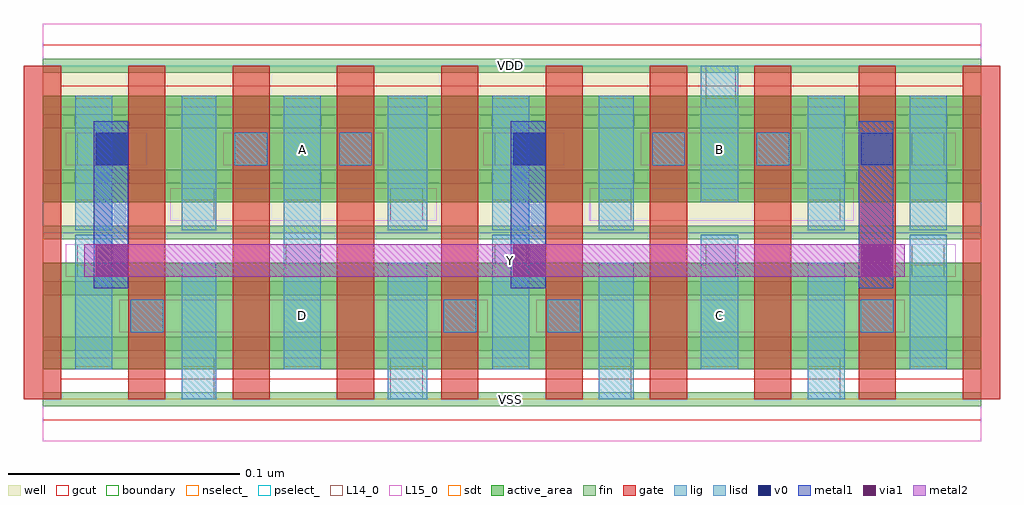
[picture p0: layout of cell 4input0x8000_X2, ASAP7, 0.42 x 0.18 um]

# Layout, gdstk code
import gdstk
lib = gdstk.Library(unit=1e-6, precision=1e-09)
def R(c, l, rs):  # rectangles x0, y0, x1, y1
    for r in rs: c.add(gdstk.rectangle(r[:2], r[2:], *l))
def A(c, l, x, y, w, h, nx, ny, dx, dy):  # array of equal rectangles
    R(c, l, [(x+i*dx, y+j*dy, x+i*dx+w, y+j*dy+h) for i in range(nx) for j in range(ny)])
def P(c, l, *ps):  # polygons
    for p in ps: c.add(gdstk.Polygon(p, *l))
well = (1, 0)
fin = (2, 0)
gate = (7, 0)
gcut = (10, 0)
active_area = (11, 0)
nselect_ = (12, 0)
pselect_ = (13, 0)
L14_0 = (14, 0)
L15_0 = (15, 0)
lig = (16, 0)
lisd = (17, 0)
v0 = (18, 0)
metal1 = (19, 0)
metal2 = (20, 0)
via1 = (21, 0)
sdt = (88, 0)
boundary = (100, 0)

c_4input0x8000_x2 = lib.new_cell('4input0x8000_X2')
R(c_4input0x8000_x2, well, [(0,0.072,0.405,0.144)])
A(c_4input0x8000_x2, fin, 0, -0.003, 0.405, 0.006, 1, 7, 0, 0.024)
A(c_4input0x8000_x2, gate, -0.008, 0, 0.016, 0.144, 10, 1, 0.045, 0)
P(c_4input0x8000_x2, gcut, [(0,-0.009),(0,0),(-0.008,0),(-0.008,0.135),(0.008,0.135),(0.008,0.009),(0.397,0.009),(0.397,0.135),(-0.008,0.135),(-0.008,0.144),(0,0.144),(0,0.153),(0.405,0.153),(0.405,0.144),(0.413,0.144),(0.413,0),(0.405,0),(0.405,-0.009)])
R(c_4input0x8000_x2, active_area, [(0,0.013,0.405,0.059), (0,0.085,0.405,0.131)])
R(c_4input0x8000_x2, nselect_, [(0,0,0.405,0.072)])
R(c_4input0x8000_x2, pselect_, [(0,0.072,0.405,0.144)])
A(c_4input0x8000_x2, L14_0, 0.06, 0, 0.014, 0.018, 4, 1, 0.09, 0)
A(c_4input0x8000_x2, L14_0, 0.06, 0.077, 0.014, 0.014, 4, 1, 0.09, 0)
R(c_4input0x8000_x2, L14_0, [(0.038,0.029,0.052,0.043), (0.173,0.029,0.187,0.043), (0.218,0.029,0.232,0.043), (0.353,0.029,0.367,0.043), (0.015,0.053,0.03,0.067), (0.105,0.053,0.12,0.067), (0.195,0.053,0.209,0.067), (0.286,0.053,0.299,0.067), (0.375,0.053,0.389,0.067), (0.015,0.101,0.03,0.115), (0.083,0.101,0.097,0.115), (0.128,0.101,0.142,0.115), (0.195,0.101,0.209,0.115), (0.263,0.101,0.277,0.115), (0.308,0.101,0.322,0.115), (0.375,0.101,0.389,0.115), (0.286,0.126,0.299,0.144)])
R(c_4input0x8000_x2, L15_0, [(0,-0.018,0.405,0.018), (0.033,0.029,0.192,0.043), (0.213,0.029,0.372,0.043), (0.01,0.053,0.394,0.067), (0.055,0.077,0.17,0.091), (0.236,0.077,0.35,0.091), (0.01,0.101,0.045,0.115), (0.078,0.101,0.147,0.115), (0.19,0.101,0.225,0.115), (0.258,0.101,0.327,0.115), (0.345,0.101,0.394,0.115), (0,0.126,0.405,0.162)])
R(c_4input0x8000_x2, lig, [(0.038,0.029,0.052,0.043), (0.173,0.029,0.187,0.043), (0.218,0.029,0.232,0.043), (0.353,0.029,0.367,0.043), (0.083,0.101,0.097,0.115), (0.128,0.101,0.142,0.115), (0.263,0.101,0.277,0.115), (0.308,0.101,0.322,0.115)])
A(c_4input0x8000_x2, lisd, 0.194, 0.013, 0.016, 0.058, 3, 1, 0.09, 0)
R(c_4input0x8000_x2, lisd, [(0.06,0,0.075,0.059), (0.149,0,0.166,0.059), (0.24,0,0.255,0.059), (0.33,0,0.346,0.059), (0.014,0.013,0.03,0.071), (0.104,0.013,0.12,0.131), (0.014,0.073,0.03,0.131), (0.06,0.073,0.075,0.131), (0.149,0.073,0.166,0.131), (0.194,0.073,0.21,0.131), (0.24,0.073,0.255,0.131), (0.33,0.073,0.346,0.131), (0.374,0.073,0.39,0.131), (0.284,0.085,0.3,0.144)])
R(c_4input0x8000_x2, v0, [(0.023,0.101,0.037,0.115), (0.203,0.101,0.217,0.115), (0.353,0.101,0.367,0.115)])
R(c_4input0x8000_x2, metal1, [(0.022,0.048,0.037,0.12), (0.202,0.048,0.217,0.12), (0.352,0.048,0.367,0.12)])
R(c_4input0x8000_x2, metal2, [(0.018,0.053,0.372,0.067)])
R(c_4input0x8000_x2, via1, [(0.023,0.053,0.037,0.067), (0.203,0.053,0.217,0.067), (0.353,0.053,0.367,0.067)])
A(c_4input0x8000_x2, sdt, 0.014, 0.014, 0.016, 0.044, 4, 2, 0.09, 0.072)
R(c_4input0x8000_x2, sdt, [(0.06,0.014,0.075,0.058), (0.149,0.014,0.166,0.058), (0.24,0.014,0.255,0.058), (0.33,0.014,0.346,0.058), (0.374,0.014,0.39,0.058), (0.06,0.086,0.075,0.13), (0.149,0.086,0.166,0.13), (0.24,0.086,0.255,0.13), (0.33,0.086,0.346,0.13), (0.374,0.086,0.39,0.13)])
R(c_4input0x8000_x2, boundary, [(0,0,0.405,0.144)])
c_4input0x8000_x2.add(gdstk.Label('D', (0.112,0.036), layer=15, texttype=251))
c_4input0x8000_x2.add(gdstk.Label('VSS', (0.202,0), layer=15, texttype=251))
c_4input0x8000_x2.add(gdstk.Label('VDD', (0.202,0.144), layer=15, texttype=251))
c_4input0x8000_x2.add(gdstk.Label('A', (0.112,0.108), layer=15, texttype=251))
c_4input0x8000_x2.add(gdstk.Label('VSS', (0.202,0), layer=15, texttype=251))
c_4input0x8000_x2.add(gdstk.Label('VDD', (0.202,0.144), layer=15, texttype=251))
c_4input0x8000_x2.add(gdstk.Label('Y', (0.202,0.06), layer=15, texttype=251))
c_4input0x8000_x2.add(gdstk.Label('VSS', (0.202,0), layer=15, texttype=251))
c_4input0x8000_x2.add(gdstk.Label('VDD', (0.202,0.144), layer=15, texttype=251))
c_4input0x8000_x2.add(gdstk.Label('C', (0.292,0.036), layer=15, texttype=251))
c_4input0x8000_x2.add(gdstk.Label('VSS', (0.202,0), layer=15, texttype=251))
c_4input0x8000_x2.add(gdstk.Label('VDD', (0.202,0.144), layer=15, texttype=251))
c_4input0x8000_x2.add(gdstk.Label('B', (0.292,0.108), layer=15, texttype=251))
c_4input0x8000_x2.add(gdstk.Label('VSS', (0.202,0), layer=15, texttype=251))
c_4input0x8000_x2.add(gdstk.Label('VDD', (0.202,0.144), layer=15, texttype=251))
c_4input0x8000_x2.add(gdstk.Label('VSS', (0.202,0), layer=3, texttype=251))
c_4input0x8000_x2.add(gdstk.Label('VSS', (0.202,0), layer=3, texttype=251))
c_4input0x8000_x2.add(gdstk.Label('VSS', (0.202,0), layer=3, texttype=251))
c_4input0x8000_x2.add(gdstk.Label('VSS', (0.202,0), layer=3, texttype=251))
c_4input0x8000_x2.add(gdstk.Label('VSS', (0.202,0), layer=3, texttype=251))
c_4input0x8000_x2.add(gdstk.Label('VDD', (0.202,0.144), layer=1, texttype=251))
c_4input0x8000_x2.add(gdstk.Label('VDD', (0.202,0.144), layer=1, texttype=251))
c_4input0x8000_x2.add(gdstk.Label('VDD', (0.202,0.144), layer=1, texttype=251))
c_4input0x8000_x2.add(gdstk.Label('VDD', (0.202,0.144), layer=1, texttype=251))
c_4input0x8000_x2.add(gdstk.Label('VDD', (0.202,0.144), layer=1, texttype=251))

lib.write_gds('4input0x8000_X2.gds')
